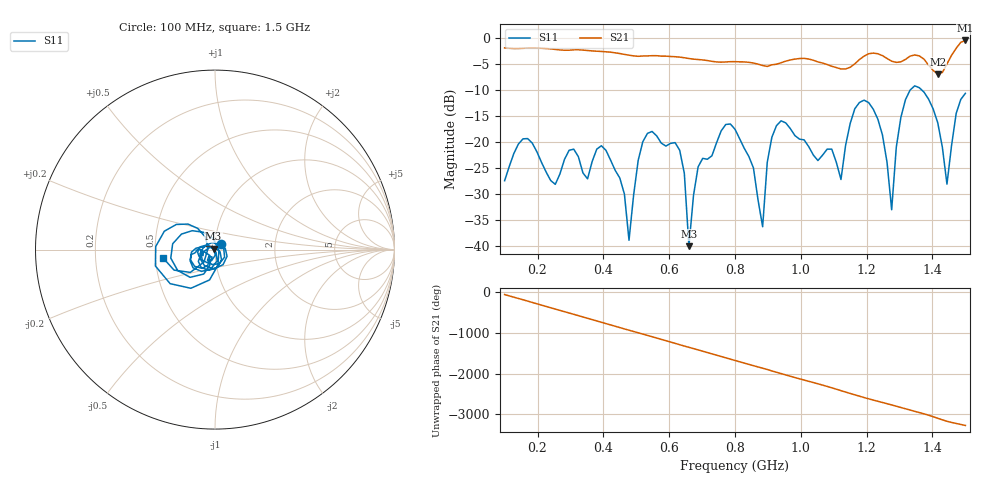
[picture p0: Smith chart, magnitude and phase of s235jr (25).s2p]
! NanoVNA-App
! Date: 2025-09-25 15:04:21
! Start: 100MHz Stop: 1,5GHz Points: 101
! S-Parameter data: F S11 S21 S12 S22
# Hz S RI R 50
!  Frequency  S11_Real  S11_Imag  S21_Real  S21_Imag  S12_Real  S12_Imag  S22_Real  S22_Imag
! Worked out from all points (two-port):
!   101 points, 100 MHz to 1.5 GHz, reference 50 ohm
!   highest |S21| = -0.54 dB at 1.5 GHz (marker M1); lowest = -7.0 dB at 1.416 GHz (marker M2)
!   |S21| within 3 dB of the highest: start of sweep to 498.3 MHz; 516 MHz to 574.6 MHz (58.64 MHz wide, 10.8 % of centre) (the widest 2 of 5)
!   lowest |S11| = -40.1 dB at 660 MHz (marker M3), VSWR 1.02, Z = 49.2 + j0.6 ohm
!   |S11| at or under -10 dB: start of sweep to 1.333 GHz; 1.366 GHz to end of sweep
!   S12 and S22 are empty: the file has one direction only
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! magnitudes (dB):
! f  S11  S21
! 100 MHz  -27.5  -2.0
! 156 MHz  -19.4  -2.0
! 338 MHz  -26.0  -2.4
! 408 MHz  -21.6  -2.7
! 478 MHz  -38.9  -3.4
! 520 MHz  -20.0  -3.5
! 576 MHz  -20.3  -3.5
! 632 MHz  -21.6  -3.7
! 660 MHz  -40.1  -4.0
! 688 MHz  -24.8  -4.2
! 800 MHz  -17.6  -4.6
! 884 MHz  -36.3  -5.4
! 926 MHz  -16.9  -5.1
! 1.038 GHz  -22.5  -4.3
! 1.122 GHz  -27.2  -6.0
! 1.206 GHz  -12.5  -3.1
! 1.276 GHz  -33.1  -4.5
! 1.304 GHz  -15.3  -4.6
! 1.332 GHz  -10.1  -3.6
! 1.416 GHz  -16.3  -7.0
! 1.444 GHz  -28.1  -5.1
! 1.5 GHz  -10.7  -0.5
